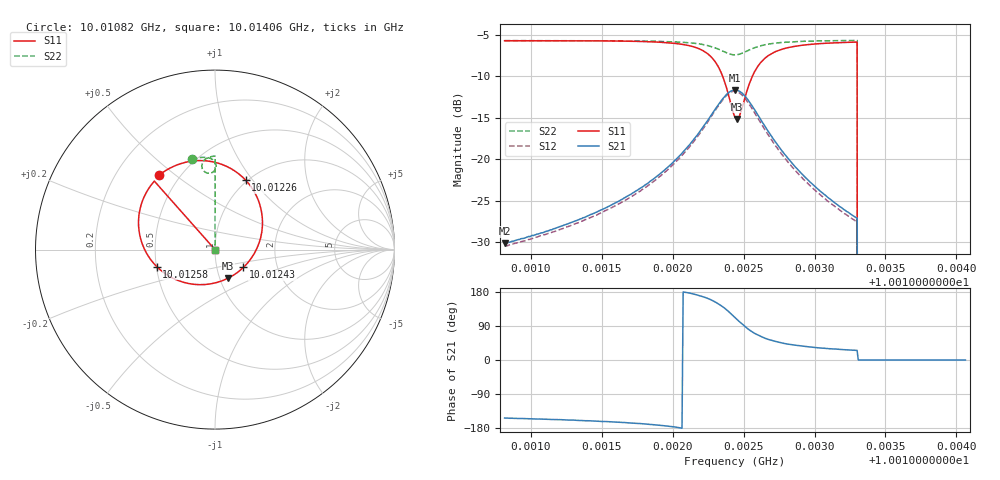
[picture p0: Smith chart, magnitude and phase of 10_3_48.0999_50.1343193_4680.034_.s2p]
#  HZ  S  RI  R  50.00
! Rohde & Schwarz Vector Network Analyzer
! Rohde-Schwarz,ZNB20-2Port,1311601062101988,3.16
! Created: UTC 12/23/2023, 3:35:34 AM
! freq[Hz]  re:S11  im:S11  re:S21  im:S21  re:S12  im:S12  re:S22  im:S22
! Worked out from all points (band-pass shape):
!   401 points, 10.01082 GHz to 10.01406 GHz, reference 50 ohm
!   highest |S21| = -11.63 dB at 10.01244 GHz (marker M1); lowest = -30.1 dB at 10.01082 GHz (marker M2)
!   |S21| within 3 dB of the highest: 10.01227 GHz to 10.0126 GHz (327.2 kHz wide, 0.00327 % of centre)
!   lowest |S11| = -15.1 dB at 10.01246 GHz (marker M3), VSWR 1.43, Z = 54.7 - j18 ohm
!   |S11| at or under -10 dB: 10.01235 GHz to 10.01256 GHz (208.2 kHz wide, 0.00208 % of centre); 10.0133 GHz to end of sweep
!   |S22| runs from - to -5.7 dB; largest |S21 - S12| = 0.011
!   S11 on the Smith chart (normalised r, x): 10.01082 GHz: 0.39, +0.44; 10.01226 GHz: 0.98, +0.92; 10.01243 GHz: 1.34, -0.28; 10.01258 GHz: 0.50, -0.11; 10.01406 GHz: 1.00, +0.00
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1.0010816e10  -0.3119 0.4151  -0.0278 -0.0141  -0.026 -0.0149  -0.1292 0.5036
1.001136e10  -0.2533 0.4527  -0.0412 -0.0152  -0.039 -0.0167  -0.091 0.5117
1.0011652e10  -0.2018 0.4754  -0.056 -0.0151  -0.0531 -0.0176  -0.0676 0.5141
1.0011904e10  -0.1252 0.4934  -0.0801 -0.0114  -0.0766 -0.0152  -0.0439 0.5132
1.0012139e10  0.0258 0.4789  -0.1283 0.0114  -0.125 0.00436  -0.0143 0.5026
1.0012261e10  0.1703 0.3874  -0.1686 0.0601  -0.168 0.0496  0.0031 0.4822
1.001231e10  0.2317 0.2972  -0.1802 0.1003  -0.1822 0.0898  0.00645 0.4667
1.0012358e10  0.2645 0.157  -0.1775 0.1537  -0.1816 0.1437  0.00244 0.4478
1.0012399e10  0.2348 0.00968  -0.1505 0.2049  -0.1556 0.1967  -0.0104 0.4328
1.0012432e10  0.1586 -0.0989  -0.1107 0.237  -0.1162 0.2298  -0.0266 0.4261
1.001244e10  0.1303 -0.1234  -0.0978 0.2431  -0.1047 0.2355  -0.031 0.4255
1.0012456e10  0.0724 -0.1597  -0.0727 0.2504  -0.0789 0.2434  -0.0397 0.426
1.0012505e10  -0.1193 -0.1933  0.000109 0.2435  -0.00459 0.2363  -0.0621 0.4379
1.0012537e10  -0.2289 -0.1621  0.0381 0.2214  0.0319 0.2144  -0.0702 0.4501
1.0012578e10  -0.3245 -0.0947  0.067 0.1877  0.0594 0.1815  -0.0734 0.4653
1.0012651e10  -0.406 0.0334  0.0851 0.1336  0.077 0.1296  -0.0685 0.4862
1.0012756e10  -0.4257 0.166  0.0808 0.0845  0.0739 0.0833  -0.0551 0.5027
1.0012984e10  -0.3897 0.3047  0.0591 0.0396  0.0543 0.04  -0.0284 0.5161
1.0013284e10  -0.3402 0.379  0.0407 0.0194  0.0376 0.0205  -0.00104 0.5209
1.0013324e10  0 0  0 0  0 0  0 0
1.0013527e10  0 0  0 0  0 0  0 0
1.0014063e10  0 0  0 0  0 0  0 0
